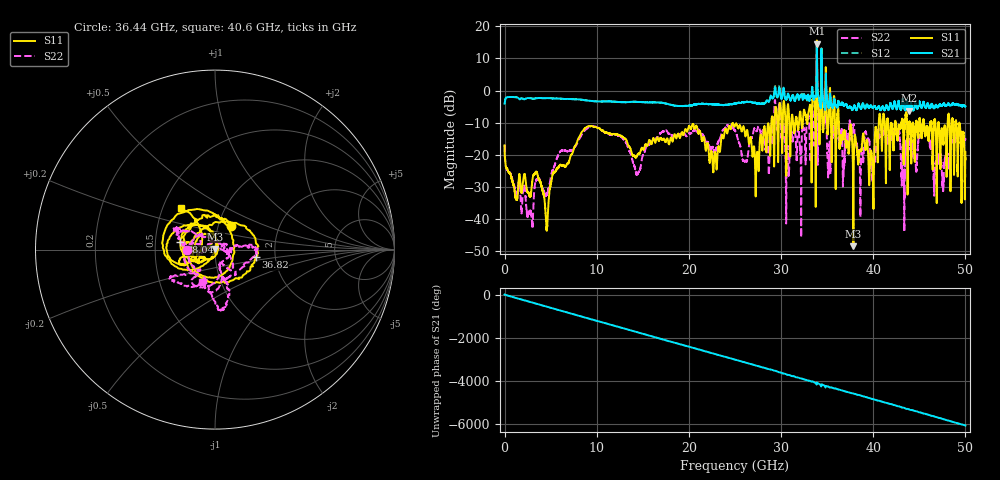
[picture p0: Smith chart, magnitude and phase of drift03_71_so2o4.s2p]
!Created with skrf (http://scikit-rf.org).
# Hz S RI R 50.0
!freq ReS11 ImS11 ReS21 ImS21 ReS12 ImS12 ReS22 ImS22
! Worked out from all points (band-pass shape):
!   10001 points, 300 kHz to 50 GHz, reference 50 ohm
!   highest |S21| = 14.61 dB at 33.88 GHz (marker M1); lowest = -6.3 dB at 43.9 GHz (marker M2)
!   |S21| within 3 dB of the highest: 33.86922 GHz to 33.88784 GHz (18.62 MHz wide, 0.055 % of centre); 34.37712 GHz to 34.38808 GHz (10.95 MHz wide, 0.0319 % of centre)
!   lowest |S11| = -48.4 dB at 37.85 GHz (marker M3), VSWR 1.01, Z = 50.2 + j0.316 ohm
!   |S11| at or under -10 dB: start of sweep to 28.94 GHz; 36.27 GHz to 40.6 GHz (4.334 GHz wide, 11.3 % of centre); 47.11 GHz to 48.08 GHz (970 MHz wide, 2.04 % of centre) (the widest 3 of 60)
!   |S22| runs from -45.7 to 11.3 dB; largest |S21 - S12| = 0.8
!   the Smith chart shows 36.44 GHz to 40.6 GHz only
!   S11 on the Smith chart (normalised r, x): 36.44 GHz: 1.15, +0.32; 36.82 GHz: 1.58, -0.14; 38.04 GHz: 0.67, +0.06; 40.6 GHz: 0.62, +0.32
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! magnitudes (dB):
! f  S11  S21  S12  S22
! 300 kHz  -17.0  -4.0  -4.1  -16.9
! 2.82 GHz  -32.8  -2.4  -2.4  -37.8
! 4.555 GHz  -43.4  -2.3  -2.3  -32.4
! 8.335 GHz  -13.1  -2.8  -2.8  -13.9
! 14.44 GHz  -19.9  -3.5  -3.5  -26.1
! 16.67 GHz  -15.4  -3.7  -3.7  -14.3
! 22.82 GHz  -19.2  -4.3  -4.3  -19.1
! 25 GHz  -10.9  -4.0  -4.0  -12.5
! 27.39 GHz  -19.4  -4.1  -4.0  -12.5
! 29.6 GHz  -10.5  -2.0  -2.1  -11.7
! 30.7 GHz  -5.6  -1.4  -1.4  -17.2
! 33.34 GHz  -13.8  -0.3  -0.4  -7.0
! 33.88 GHz  15.6  14.6  14.3  11.1
! 36.44 GHz  -15.9  -4.3  -4.3  -16.2
! 36.82 GHz  -12.8  -4.8  -4.7  -23.3
! 37.85 GHz  -48.4  -5.4  -5.4  -10.8
! 38.04 GHz  -14.0  -5.1  -5.1  -16.5
! 39.97 GHz  -26.8  -5.2  -5.4  -25.8
! 40.6 GHz  -10.4  -4.9  -4.8  -14.2
! 41.67 GHz  -12.1  -5.9  -5.9  -15.0
! 43.9 GHz  -9.6  -6.3  -6.2  -16.8
! 50 GHz  -19.2  -4.9  -4.9  -15.1
